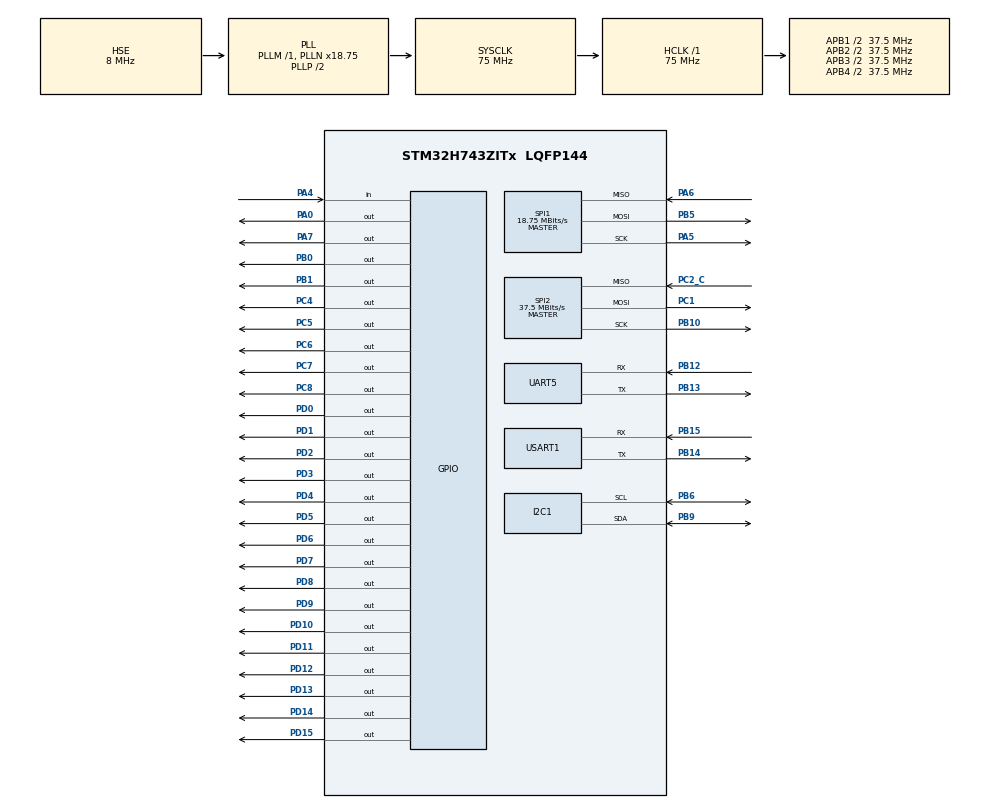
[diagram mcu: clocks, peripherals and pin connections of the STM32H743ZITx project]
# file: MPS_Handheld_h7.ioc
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I2C1.Timing=0x00909FCE
Mcu.Family=STM32H7
Mcu.Name=STM32H743ZITx
Mcu.Package=LQFP144
NVIC.PriorityGroup=NVIC_PRIORITYGROUP_4
PA0.GPIO_Speed=GPIO_SPEED_FREQ_VERY_HIGH
PA0.Signal=GPIO_Output
PA4.Signal=GPIO_Input
PA5.Mode=Full_Duplex_Master
PA5.Signal=SPI1_SCK
PA6.Mode=Full_Duplex_Master
PA6.Signal=SPI1_MISO
PA7.GPIO_Speed=GPIO_SPEED_FREQ_VERY_HIGH
PA7.Signal=GPIO_Output
PB0.GPIO_Speed=GPIO_SPEED_FREQ_VERY_HIGH
PB0.Signal=GPIO_Output
PB1.GPIO_Speed=GPIO_SPEED_FREQ_VERY_HIGH
PB1.Signal=GPIO_Output
PB10.Mode=Full_Duplex_Master
PB10.Signal=SPI2_SCK
PB12.Mode=Asynchronous
PB12.Signal=UART5_RX
PB13.Mode=Asynchronous
PB13.Signal=UART5_TX
PB14.Mode=Asynchronous
PB14.Signal=USART1_TX
PB15.Mode=Asynchronous
PB15.Signal=USART1_RX
PB5.Mode=Full_Duplex_Master
PB5.Signal=SPI1_MOSI
PB6.Mode=I2C
PB6.Signal=I2C1_SCL
PB9.Mode=I2C
PB9.Signal=I2C1_SDA
PC1.Mode=Full_Duplex_Master
PC1.Signal=SPI2_MOSI
PC2_C.Mode=Full_Duplex_Master
PC2_C.Signal=SPI2_MISO
PC4.GPIO_Speed=GPIO_SPEED_FREQ_VERY_HIGH
PC4.Signal=GPIO_Output
PC5.GPIO_Speed=GPIO_SPEED_FREQ_VERY_HIGH
PC5.Signal=GPIO_Output
PC6.GPIO_Speed=GPIO_SPEED_FREQ_VERY_HIGH
PC6.Signal=GPIO_Output
PC7.GPIO_Speed=GPIO_SPEED_FREQ_VERY_HIGH
PC7.Signal=GPIO_Output
PC8.GPIO_Speed=GPIO_SPEED_FREQ_VERY_HIGH
PC8.Signal=GPIO_Output
PD0.Signal=GPIO_Output
PD1.Signal=GPIO_Output
PD10.Signal=GPIO_Output
PD11.Signal=GPIO_Output
PD12.Signal=GPIO_Output
PD13.Signal=GPIO_Output
PD14.Signal=GPIO_Output
PD15.Signal=GPIO_Output
PD2.Signal=GPIO_Output
PD3.Signal=GPIO_Output
PD4.Signal=GPIO_Output
PD5.Signal=GPIO_Output
PD6.Signal=GPIO_Output
PD7.Signal=GPIO_Output
PD8.Signal=GPIO_Output
PD9.Signal=GPIO_Output
PH0-OSC_IN\ (PH0).Mode=HSE-External-Oscillator
PH0-OSC_IN\ (PH0).Signal=RCC_OSC_IN
PH1-OSC_OUT\ (PH1).Mode=HSE-External-Oscillator
PH1-OSC_OUT\ (PH1).Signal=RCC_OSC_OUT
ProjectManager.HeapSize=0x200
ProjectManager.StackSize=0x400
ProjectManager.TargetToolchain=STM32CubeIDE
RCC.ADCFreq_Value=16125000
RCC.APB1Freq_Value=37500000
RCC.APB2Freq_Value=37500000
RCC.APB3Freq_Value=37500000
RCC.APB4Freq_Value=37500000
RCC.CortexFreq_Value=75000000
RCC.D1PPRE=RCC_APB3_DIV2
RCC.D2PPRE1=RCC_APB1_DIV2
RCC.D2PPRE2=RCC_APB2_DIV2
RCC.D3PPRE=RCC_APB4_DIV2
RCC.DIVM1=1
RCC.DIVN1=18
RCC.HCLKFreq_Value=75000000
RCC.HSE_VALUE=8000000
RCC.PLLFRACN=6144
RCC.PLLSourceVirtual=RCC_PLLSOURCE_HSE
RCC.SYSCLKFreq_VALUE=75000000
RCC.SYSCLKSource=RCC_SYSCLKSOURCE_PLLCLK
RCC.USBFreq_Value=75000000
SPI1.BaudRatePrescaler=SPI_BAUDRATEPRESCALER_4
SPI1.CalculateBaudRate=18.75 MBits/s
SPI1.DataSize=SPI_DATASIZE_12BIT
SPI1.Direction=SPI_DIRECTION_2LINES
SPI1.Mode=SPI_MODE_MASTER
SPI1.VirtualType=VM_MASTER
SPI2.CalculateBaudRate=37.5 MBits/s
SPI2.Direction=SPI_DIRECTION_2LINES
SPI2.Mode=SPI_MODE_MASTER
SPI2.VirtualType=VM_MASTER
USART1.VirtualMode-Asynchronous=VM_ASYNC
board=custom

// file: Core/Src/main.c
/* USER CODE BEGIN Header */
/**
  ******************************************************************************
  * @file           : main.c
  * @brief          : Main program body
  ******************************************************************************
	WRITTEN BY ARTURO DI GRIROLAMO, APRIL 2021
	MPS RESEARCH PROJECT AT THE UNIVERSITY OF MINNESOTA
  ******************************************************************************
  */
/* USER CODE END Header */

#include "main.h"

/* USER CODE BEGIN Includes */
#include "math.h"
#include <stdbool.h>
#include <string.h>
#include <stdio.h>
/* USER CODE END Includes */

/* USER CODE BEGIN PTD */
#define samplesize 170000
/* USER CODE END PTD */

/* USER CODE BEGIN PD */
#define CSR     0x00            //Channel select register            1 Byte
#define CFTW    0x04            //Channel Frequency Tuning Word      4 Bytes
#define CPOW    0x05            //Channel Phase Offset Word          2 Bytes
/* USER CODE END PD */

I2C_HandleTypeDef hi2c1;

SPI_HandleTypeDef hspi2;

UART_HandleTypeDef huart5;
UART_HandleTypeDef huart1;

/* USER CODE BEGIN PV */

//VINIT VARIABLES
uint32_t FTW0;	//Frequency tuning word for channel 0
uint32_t FTW1;	//Frequency tuning word for channel 1
uint32_t POW0;	//Phase offset word for channel 0
uint32_t POW1;	//Phase offset word for channel 1
uint8_t ftwBytes0[4];
uint8_t ftwBytes1[4];
uint8_t powBytes0[2];
uint8_t powBytes1[2];
uint8_t regBuff;
uint8_t dataBuff;

// ARTURO VARIABLES
uint8_t myRxData[2];
uint8_t myTxData[1] = {0xAA};
uint8_t FreqFlag = 0;
uint8_t FreqFlag2 = 0;
uint16_t FrequencyH = 0;
uint16_t FrequencyL = 0;
uint8_t a[2] = {0xAA,0};
uint8_t b[2] = {0xBB,0};
uint8_t c[2] = {0xFF,0};
uint8_t d_to_dds[2] = {'1',0};
uint8_t needtoadj = 0;

uint8_t the_stuff[3][samplesize];
uint32_t read_data;
uint16_t sampleRateDivider = 700;

/* USER CODE END PV */

void SystemClock_Config(void);
static void MX_GPIO_Init(void);
static void MX_I2C1_Init(void);
static void MX_SPI1_Init(void);
static void MX_SPI2_Init(void);
static void MX_UART5_Init(void);
static void MX_USART1_UART_Init(void);

/* USER CODE BEGIN 0 */
void MY_DDS9958_FUNCTION_A()
{
	//LED turned on during DDS operation
	LL_GPIO_SetOutputPin(GPIOA, GPIO_PIN_0);

	//Write the frequency and phase information for the DDS AD9958 below
	//Refer to the Python code for correct numbers here
	FTW0 = 858993;	//5KHz
	POW0 = 0;		//0 degree
	FTW1 = 858993;	//5KHz
	POW1 = 1500;	//90 degree - 4096; 4480; 1500

	ftwBytes0[0] = FTW0 >> 24;	//MSB
	ftwBytes0[1] = FTW0 >> 16;
	ftwBytes0[2] = FTW0 >> 8;
	ftwBytes0[3] = FTW0 >> 0;	//LSB

	ftwBytes1[0] = FTW1 >> 24;	//MSB
	ftwBytes1[1] = FTW1 >> 16;
	ftwBytes1[2] = FTW1 >> 8;
	ftwBytes1[3] = FTW1 >> 0;	//LSB

	powBytes0[0] = POW0 >> 8;	//MSB
	powBytes0[1] = POW0 >> 0;	//LSB

	powBytes1[0] = POW1 >> 8;	//MSB
	powBytes1[1] = POW1 >> 0;	//LSB

	//************************************
	//ADD DDS FUNCTIONALITY HERE
	//************************************

	//------------------------------------
	//Master reset pulse : Pulse of 1ms duration
	LL_GPIO_SetOutputPin(GPIOD, GPIO_PIN_2);
	HAL_Delay(1);
	LL_GPIO_ResetOutputPin(GPIOD, GPIO_PIN_2);
	//------------------------------------

	//------------------------------------
	//Enable SPI communication on DDS : SDIO_3 pin should be pulled "LOW"
	LL_GPIO_ResetOutputPin(GPIOD, GPIO_PIN_1);
	HAL_Delay(1);
	//------------------------------------

	//------------------------------------
	//Configure 3-wire SPI : *Redundant* if no read operations are performed
	//write 0x72/42 into CSR register while configuring channel-0 updates
	//write 0xB2/82 into CSR register while configuring channel-1 updates
	//------------------------------------

	//------------------------------------
	//Select channel-0 in CSR register : IO update toggle is not needed for channel selection
	regBuff = CSR;
	dataBuff = 0x70;	//0x40 is also valid
	LL_GPIO_ResetOutputPin(GPIOB, GPIO_PIN_0);
	HAL_SPI_Transmit (&hspi2, &regBuff, 1, 100);
	HAL_SPI_Transmit (&hspi2, &dataBuff, 1, 100);
	LL_GPIO_SetOutputPin(GPIOB, GPIO_PIN_0);
	//------------------------------------

	//------------------------------------
	//Frequency update for channel-0 : IO update toggle is needed
	regBuff = CFTW;
	LL_GPIO_ResetOutputPin(GPIOB, GPIO_PIN_0);
	HAL_Delay(1);
	HAL_SPI_Transmit (&hspi2, &regBuff, 1, 100);
	HAL_SPI_Transmit (&hspi2, &ftwBytes0[0], 1, 100);	//MSB
	HAL_SPI_Transmit (&hspi2, &ftwBytes0[1], 1, 100);
	HAL_SPI_Transmit (&hspi2, &ftwBytes0[2], 1, 100);
	HAL_SPI_Transmit (&hspi2, &ftwBytes0[3], 1, 100);	//LSB
	HAL_Delay(1);
	LL_GPIO_SetOutputPin(GPIOB, GPIO_PIN_0);

	LL_GPIO_SetOutputPin(GPIOD, GPIO_PIN_3);
	HAL_Delay(1);
	LL_GPIO_ResetOutputPin(GPIOD, GPIO_PIN_3);
	//------------------------------------

	//------------------------------------
	//Select channel-0 in CSR register : IO update toggle is not needed for channel selection
	//*Channel select is regenerated before sending the phase information
	regBuff = CSR;
	dataBuff = 0x70;	//0x40 is also valid
	LL_GPIO_ResetOutputPin(GPIOB, GPIO_PIN_0);
	HAL_SPI_Transmit (&hspi2, &regBuff, 1, 100);
	HAL_SPI_Transmit (&hspi2, &dataBuff, 1, 100);
	LL_GPIO_SetOutputPin(GPIOB, GPIO_PIN_0);
	//------------------------------------

	//------------------------------------
	//Phase update for channel-0 : IO update toggle is needed
	regBuff = CPOW;
	LL_GPIO_ResetOutputPin(GPIOB, GPIO_PIN_0);
	HAL_SPI_Transmit (&hspi2, &regBuff, 1, 100);
	HAL_SPI_Transmit (&hspi2, &powBytes0[0], 1, 100);	//MSB
	HAL_SPI_Transmit (&hspi2, &powBytes0[1], 1, 100);	//LSB
	LL_GPIO_SetOutputPin(GPIOB, GPIO_PIN_0);

	LL_GPIO_SetOutputPin(GPIOD, GPIO_PIN_3);
	HAL_Delay(1);
	LL_GPIO_ResetOutputPin(GPIOD, GPIO_PIN_3);
	//------------------------------------

	//------------------------------------
	//Select channel-1 in CSR register : IO update toggle is not needed for channel selection
	regBuff = CSR;
	dataBuff = 0xB0;	//0x80 is also valid
	LL_GPIO_ResetOutputPin(GPIOB, GPIO_PIN_0);
	HAL_SPI_Transmit (&hspi2, &regBuff, 1, 100);
	HAL_SPI_Transmit (&hspi2, &dataBuff, 1, 100);
	LL_GPIO_SetOutputPin(GPIOB, GPIO_PIN_0);
	//------------------------------------

	//------------------------------------
	//Frequency update for channel-1 : IO update toggle is needed
	regBuff = CFTW;
	LL_GPIO_ResetOutputPin(GPIOB, GPIO_PIN_0);
	HAL_SPI_Transmit (&hspi2, &regBuff, 1, 100);
	HAL_SPI_Transmit (&hspi2, &ftwBytes1[0], 1, 100);	//MSB
	HAL_SPI_Transmit (&hspi2, &ftwBytes1[1], 1, 100);
	HAL_SPI_Transmit (&hspi2, &ftwBytes1[2], 1, 100);
	HAL_SPI_Transmit (&hspi2, &ftwBytes1[3], 1, 100);	//LSB
	LL_GPIO_SetOutputPin(GPIOB, GPIO_PIN_0);

	LL_GPIO_SetOutputPin(GPIOD, GPIO_PIN_3);
	HAL_Delay(1);
	LL_GPIO_ResetOutputPin(GPIOD, GPIO_PIN_3);
	//------------------------------------

	//------------------------------------
	//Select channel-1 in CSR register : IO update toggle is not needed for channel selection
	//*Channel select is regenerated before sending the phase information
	regBuff = CSR;
	dataBuff = 0xB0;	//0x80 is also valid
	LL_GPIO_ResetOutputPin(GPIOB, GPIO_PIN_0);
	HAL_SPI_Transmit (&hspi2, &regBuff, 1, 100);
	HAL_SPI_Transmit (&hspi2, &dataBuff, 1, 100);
	LL_GPIO_SetOutputPin(GPIOB, GPIO_PIN_0);
	//------------------------------------

	//------------------------------------
	//Phase update for channel-1 : IO update toggle is needed
	regBuff = CPOW;
	LL_GPIO_ResetOutputPin(GPIOB, GPIO_PIN_0);
	HAL_SPI_Transmit (&hspi2, &regBuff, 1, 100);
	HAL_SPI_Transmit (&hspi2, &powBytes1[0], 1, 100);	//MSB
	HAL_SPI_Transmit (&hspi2, &powBytes1[1], 1, 100);	//LSB
	LL_GPIO_SetOutputPin(GPIOB, GPIO_PIN_0);

	LL_GPIO_SetOutputPin(GPIOD, GPIO_PIN_3);
	HAL_Delay(1);
	LL_GPIO_ResetOutputPin(GPIOD, GPIO_PIN_3);
	//------------------------------------

	//------------------------------------
	//Disable SPI communication on DDS : SDIO_3 pin should be pulled "HIGH"
	//TO make proper use of this, initiate SDIO_3 pin to logic "HIGH" state and pull down only when SPI operations are needed
	//HAL_GPIO_WritePin(DDS_SDIO_3_GPIO_Port, DDS_SDIO_3_Pin, GPIO_PIN_SET);
	//------------------------------------
}
void MY_DDS9958_FUNCTION_B()
{
	//LED turned on during DDS operation
	LL_GPIO_SetOutputPin(GPIOA, GPIO_PIN_0);

	//Write the frequency and phase information for the DDS AD9958 below
	//Refer to the Python code for correct numbers here
	FTW0 = 858993;	//5KHz
	POW0 = 0;		//0 degree
	FTW1 = 858993;	//5KHz
	POW1 = 1500;	//90 degree - 4096; 4480; 1500

	ftwBytes0[0] = FTW0 >> 24;	//MSB
	ftwBytes0[1] = FTW0 >> 16;
	ftwBytes0[2] = FTW0 >> 8;
	ftwBytes0[3] = FTW0 >> 0;	//LSB

	ftwBytes1[0] = FTW1 >> 24;	//MSB
	ftwBytes1[1] = FTW1 >> 16;
	ftwBytes1[2] = FTW1 >> 8;
	ftwBytes1[3] = FTW1 >> 0;	//LSB

	powBytes0[0] = POW0 >> 8;	//MSB
	powBytes0[1] = POW0 >> 0;	//LSB

	powBytes1[0] = POW1 >> 8;	//MSB
	powBytes1[1] = POW1 >> 0;	//LSB

	//************************************
	//ADD DDS FUNCTIONALITY HERE
	//************************************

	//------------------------------------
	//Master reset pulse : Pulse of 1ms duration
	LL_GPIO_SetOutputPin(GPIOD, GPIO_PIN_10);
	HAL_Delay(1);
	LL_GPIO_ResetOutputPin(GPIOD, GPIO_PIN_10);
	//------------------------------------

	//------------------------------------
	//Enable SPI communication on DDS : SDIO_3 pin should be pulled "LOW"
	LL_GPIO_ResetOutputPin(GPIOD, GPIO_PIN_9);
	HAL_Delay(1);
	//------------------------------------

	//------------------------------------
	//Configure 3-wire SPI : *Redundant* if no read operations are performed
	//write 0x72/42 into CSR register while configuring channel-0 updates
	//write 0xB2/82 into CSR register while configuring channel-1 updates
	//------------------------------------

	//------------------------------------
	//Select channel-0 in CSR register : IO update toggle is not needed for channel selection
	regBuff = CSR;
	dataBuff = 0x70;	//0x40 is also valid
	LL_GPIO_ResetOutputPin(GPIOB, GPIO_PIN_1);
	HAL_SPI_Transmit (&hspi2, &regBuff, 1, 100);
	HAL_SPI_Transmit (&hspi2, &dataBuff, 1, 100);
	LL_GPIO_SetOutputPin(GPIOB, GPIO_PIN_1);
	//------------------------------------

	//------------------------------------
	//Frequency update for channel-0 : IO update toggle is needed
	regBuff = CFTW;
	LL_GPIO_ResetOutputPin(GPIOB, GPIO_PIN_1);
	HAL_Delay(1);
	HAL_SPI_Transmit (&hspi2, &regBuff, 1, 100);
	HAL_SPI_Transmit (&hspi2, &ftwBytes0[0], 1, 100);	//MSB
	HAL_SPI_Transmit (&hspi2, &ftwBytes0[1], 1, 100);
	HAL_SPI_Transmit (&hspi2, &ftwBytes0[2], 1, 100);
	HAL_SPI_Transmit (&hspi2, &ftwBytes0[3], 1, 100);	//LSB
	HAL_Delay(1);
	LL_GPIO_SetOutputPin(GPIOB, GPIO_PIN_1);

	LL_GPIO_SetOutputPin(GPIOD, GPIO_PIN_11);
	HAL_Delay(1);
	LL_GPIO_ResetOutputPin(GPIOD, GPIO_PIN_11);
	//------------------------------------

	//------------------------------------
	//Select channel-0 in CSR register : IO update toggle is not needed for channel selection
	//*Channel select is regenerated before sending the phase information
	regBuff = CSR;
	dataBuff = 0x70;	//0x40 is also valid
	LL_GPIO_ResetOutputPin(GPIOB, GPIO_PIN_1);
	HAL_SPI_Transmit (&hspi2, &regBuff, 1, 100);
	HAL_SPI_Transmit (&hspi2, &dataBuff, 1, 100);
	LL_GPIO_SetOutputPin(GPIOB, GPIO_PIN_1);
	//------------------------------------

	//------------------------------------
	//Phase update for channel-0 : IO update toggle is needed
	regBuff = CPOW;
	LL_GPIO_ResetOutputPin(GPIOB, GPIO_PIN_1);
	HAL_SPI_Transmit (&hspi2, &regBuff, 1, 100);
	HAL_SPI_Transmit (&hspi2, &powBytes0[0], 1, 100);	//MSB
	HAL_SPI_Transmit (&hspi2, &powBytes0[1], 1, 100);	//LSB
	LL_GPIO_SetOutputPin(GPIOB, GPIO_PIN_1);

	LL_GPIO_SetOutputPin(GPIOD, GPIO_PIN_11);
	HAL_Delay(1);
	LL_GPIO_ResetOutputPin(GPIOD, GPIO_PIN_11);
	//------------------------------------

	//------------------------------------
	//Select channel-1 in CSR register : IO update toggle is not needed for channel selection
	regBuff = CSR;
	dataBuff = 0xB0;	//0x80 is also valid
	LL_GPIO_ResetOutputPin(GPIOB, GPIO_PIN_1);
	HAL_SPI_Transmit (&hspi2, &regBuff, 1, 100);
	HAL_SPI_Transmit (&hspi2, &dataBuff, 1, 100);
	LL_GPIO_SetOutputPin(GPIOB, GPIO_PIN_1);
	//------------------------------------

	//------------------------------------
	//Frequency update for channel-1 : IO update toggle is needed
	regBuff = CFTW;
	LL_GPIO_ResetOutputPin(GPIOB, GPIO_PIN_1);
	HAL_SPI_Transmit (&hspi2, &regBuff, 1, 100);
	HAL_SPI_Transmit (&hspi2, &ftwBytes1[0], 1, 100);	//MSB
	HAL_SPI_Transmit (&hspi2, &ftwBytes1[1], 1, 100);
	HAL_SPI_Transmit (&hspi2, &ftwBytes1[2], 1, 100);
	HAL_SPI_Transmit (&hspi2, &ftwBytes1[3], 1, 100);	//LSB
	LL_GPIO_SetOutputPin(GPIOB, GPIO_PIN_1);

	LL_GPIO_SetOutputPin(GPIOD, GPIO_PIN_11);
	HAL_Delay(1);
	LL_GPIO_ResetOutputPin(GPIOD, GPIO_PIN_11);
	//------------------------------------

	//------------------------------------
	//Select channel-1 in CSR register : IO update toggle is not needed for channel selection
	//*Channel select is regenerated before sending the phase information
	regBuff = CSR;
	dataBuff = 0xB0;	//0x80 is also valid
	LL_GPIO_ResetOutputPin(GPIOB, GPIO_PIN_1);
	HAL_SPI_Transmit (&hspi2, &regBuff, 1, 100);
	HAL_SPI_Transmit (&hspi2, &dataBuff, 1, 100);
	LL_GPIO_SetOutputPin(GPIOB, GPIO_PIN_1);
	//------------------------------------

	//------------------------------------
	//Phase update for channel-1 : IO update toggle is needed
	regBuff = CPOW;
	LL_GPIO_ResetOutputPin(GPIOB, GPIO_PIN_1);
	HAL_SPI_Transmit (&hspi2, &regBuff, 1, 100);
	HAL_SPI_Transmit (&hspi2, &powBytes1[0], 1, 100);	//MSB
	HAL_SPI_Transmit (&hspi2, &powBytes1[1], 1, 100);	//LSB
	LL_GPIO_SetOutputPin(GPIOB, GPIO_PIN_1);

	LL_GPIO_SetOutputPin(GPIOD, GPIO_PIN_11);
	HAL_Delay(1);
	LL_GPIO_ResetOutputPin(GPIOD, GPIO_PIN_11);
	//------------------------------------

	//------------------------------------
	//Disable SPI communication on DDS : SDIO_3 pin should be pulled "HIGH"
	//TO make proper use of this, initiate SDIO_3 pin to logic "HIGH" state and pull down only when SPI operations are needed
	//HAL_GPIO_WritePin(DDS_SDIO_3_GPIO_Port, DDS_SDIO_3_Pin, GPIO_PIN_SET);
	//------------------------------------
}
void delay_10ns (uint16_t us)
{
	__HAL_TIM_SET_COUNTER(&htim2,0);  // set the counter value a 0
	while (__HAL_TIM_GET_COUNTER(&htim2) < us);  // wait for the counter to reach the us input in the parameter
}

void adcRead1000(){
	uint32_t i;
	LL_GPIO_SetOutputPin(GPIOC, LL_GPIO_PIN_4);
	LL_GPIO_SetOutputPin(GPIOC, LL_GPIO_PIN_5);
	LL_GPIO_SetOutputPin(GPIOC, LL_GPIO_PIN_6);
	LL_GPIO_SetOutputPin(GPIOC, LL_GPIO_PIN_7);
	LL_GPIO_SetOutputPin(GPIOC, LL_GPIO_PIN_8);
	for(i = 0; i<samplesize; i++){
		LL_GPIO_SetOutputPin(GPIOA, LL_GPIO_PIN_7);
		LL_GPIO_ResetOutputPin(GPIOA, LL_GPIO_PIN_7);
		while (LL_SPI_IsActiveFlag_RXNE(SPI1))
		{
			(void)(uint16_t)(READ_REG(SPI1->DR)); // flush any FIFO content
		}
		__IO uint16_t *spidr = ((__IO uint16_t *)&SPI1->DR);
		*spidr = 0xFFFF;
		uint16_t first = (uint16_t)(READ_REG(SPI1->DR));
		*spidr = 0xFFFF;
		uint16_t second = (uint16_t)(READ_REG(SPI1->DR));
		uint32_t first2 = first;
		read_data = ((first2<<12)+(second));
		the_stuff[2][i] = read_data;
		the_stuff[1][i] = (read_data >> 8);
		the_stuff[0][i] = (read_data >> 16);
		//delay_10ns(sampleRateDivider);
	}
	LL_GPIO_ResetOutputPin(GPIOC, LL_GPIO_PIN_4);
	LL_GPIO_ResetOutputPin(GPIOC, LL_GPIO_PIN_5);
	LL_GPIO_ResetOutputPin(GPIOC, LL_GPIO_PIN_6);
	LL_GPIO_ResetOutputPin(GPIOC, LL_GPIO_PIN_7);
	LL_GPIO_ResetOutputPin(GPIOC, LL_GPIO_PIN_8);
}

void transmit1000(){
	uint32_t i;
	uint32_t j;
	for(i  = 0; i <samplesize; i++){
		for(j = 0; j<3; j++){
			HAL_UART_Transmit(&huart1, (uint8_t*)&the_stuff[j][i], sizeof(the_stuff[j][i]), 0xFFFF);
		}
	}
}

void HAL_UART_RxCpltCallback(UART_HandleTypeDef *huart){
	UNUSED(huart);
	/*if(FreqFlag == 1){
		FrequencyL = myRxData[0]*myRxData[1];
		FreqFlag = 0;
		FreqFlag2 = 1;
		HAL_UART_Receive_DMA(&huart1, myRxData, 2);
		return;
	}if(FreqFlag2 == 1){
		if(myRxData[1] != 1){
			FrequencyH = myRxData[0]*powf(10, myRxData[1]); // end my life please
		}else{
			FrequencyH = myRxData[0]*myRxData[1];
		}
		FreqFlag2 = 0;
		needtoadj = 1;
		HAL_UART_Receive_DMA(&huart1, myRxData, 2); // just kidding
		return;
	}*/
	if((myRxData[0] == 'a' )&& (myRxData[1] == 'a')){
		HAL_UART_Transmit(&huart1, (uint8_t * )&a[0], sizeof(a[0]), 0xFFFF);
    }else if((myRxData[0] == 'b' )&& (myRxData[1] == 'b')){
    	adcRead1000();
    	HAL_UART_Transmit(&huart1, (uint8_t * )&b[0], sizeof(b[0]), 0xFFFF);
    }else if((myRxData[0] == 'c' )&& (myRxData[1] == 'c')){
    	transmit1000();
	}/*else if((myRxData[0] == 'l' )&& (myRxData[1] == 'l')){
		FreqFlag = 1;
	}else if(myRxData[0] == '1'){
		d_to_dds[1] = myRxData[1];
	}*/
	HAL_UART_Receive_DMA(&huart1, myRxData, 2);
}
/* USER CODE END 0 */

int main(void)
{

  /* MCU Configuration--------------------------------------------------------*/

  /* Reset of all peripherals, Initializes the Flash interface and the Systick. */
  HAL_Init();

  /* Configure the system clock */
  SystemClock_Config();

  /* Initialize all configured peripherals */
  MX_GPIO_Init();
  MX_I2C1_Init();
  MX_SPI1_Init();
  MX_SPI2_Init();
  MX_UART5_Init();
  MX_USART1_UART_Init();
  /* USER CODE BEGIN 2 */
  LL_SPI_Enable(SPI1);
  HAL_UART_Receive_DMA(&huart1, myRxData, 2);
  HAL_Delay(500);

  MY_DDS9958_FUNCTION_A();
  MY_DDS9958_FUNCTION_B();
  /* USER CODE END 2 */

  /* Infinite loop */
  /* USER CODE BEGIN WHILE */
  while (1)
  {
	  LL_GPIO_SetOutputPin(GPIOA, LL_GPIO_PIN_0);
	  HAL_Delay(500);
	  LL_GPIO_ResetOutputPin(GPIOA, LL_GPIO_PIN_0);
	  HAL_Delay(500);
    /* USER CODE END WHILE */

  }
}

void SystemClock_Config(void)
{
  RCC_OscInitTypeDef RCC_OscInitStruct = {0};
  RCC_ClkInitTypeDef RCC_ClkInitStruct = {0};
  RCC_PeriphCLKInitTypeDef PeriphClkInitStruct = {0};

  /** Supply configuration update enable
  */
  HAL_PWREx_ConfigSupply(PWR_LDO_SUPPLY);
  /** Configure the main internal regulator output voltage
  */
  __HAL_PWR_VOLTAGESCALING_CONFIG(PWR_REGULATOR_VOLTAGE_SCALE3);

  while(!__HAL_PWR_GET_FLAG(PWR_FLAG_VOSRDY)) {}
  /** Initializes the CPU, AHB and APB busses clocks
  */
  RCC_OscInitStruct.OscillatorType = RCC_OSCILLATORTYPE_HSE;
  RCC_OscInitStruct.HSEState = RCC_HSE_ON;
  RCC_OscInitStruct.PLL.PLLState = RCC_PLL_ON;
  RCC_OscInitStruct.PLL.PLLSource = RCC_PLLSOURCE_HSE;
  RCC_OscInitStruct.PLL.PLLM = 1;
  RCC_OscInitStruct.PLL.PLLN = 18;
  RCC_OscInitStruct.PLL.PLLP = 2;
  RCC_OscInitStruct.PLL.PLLQ = 2;
  RCC_OscInitStruct.PLL.PLLR = 2;
  RCC_OscInitStruct.PLL.PLLRGE = RCC_PLL1VCIRANGE_3;
  RCC_OscInitStruct.PLL.PLLVCOSEL = RCC_PLL1VCOMEDIUM;
  RCC_OscInitStruct.PLL.PLLFRACN = 6144;
  if (HAL_RCC_OscConfig(&RCC_OscInitStruct) != HAL_OK)
  {
    Error_Handler();
  }
  /** Initializes the CPU, AHB and APB busses clocks
  */
  RCC_ClkInitStruct.ClockType = RCC_CLOCKTYPE_HCLK|RCC_CLOCKTYPE_SYSCLK
                              |RCC_CLOCKTYPE_PCLK1|RCC_CLOCKTYPE_PCLK2
                              |RCC_CLOCKTYPE_D3PCLK1|RCC_CLOCKTYPE_D1PCLK1;
  RCC_ClkInitStruct.SYSCLKSource = RCC_SYSCLKSOURCE_PLLCLK;
  RCC_ClkInitStruct.SYSCLKDivider = RCC_SYSCLK_DIV1;
  RCC_ClkInitStruct.AHBCLKDivider = RCC_HCLK_DIV1;
  RCC_ClkInitStruct.APB3CLKDivider = RCC_APB3_DIV2;
  RCC_ClkInitStruct.APB1CLKDivider = RCC_APB1_DIV2;
  RCC_ClkInitStruct.APB2CLKDivider = RCC_APB2_DIV2;
  RCC_ClkInitStruct.APB4CLKDivider = RCC_APB4_DIV2;

  if (HAL_RCC_ClockConfig(&RCC_ClkInitStruct, FLASH_LATENCY_1) != HAL_OK)
  {
    Error_Handler();
  }
  PeriphClkInitStruct.PeriphClockSelection = RCC_PERIPHCLK_USART1|RCC_PERIPHCLK_UART5
                              |RCC_PERIPHCLK_SPI1|RCC_PERIPHCLK_SPI2
                              |RCC_PERIPHCLK_I2C1;
  PeriphClkInitStruct.Spi123ClockSelection = RCC_SPI123CLKSOURCE_PLL;
  PeriphClkInitStruct.Usart234578ClockSelection = RCC_USART234578CLKSOURCE_D2PCLK1;
  PeriphClkInitStruct.Usart16ClockSelection = RCC_USART16CLKSOURCE_D2PCLK2;
  PeriphClkInitStruct.I2c123ClockSelection = RCC_I2C123CLKSOURCE_D2PCLK1;
  if (HAL_RCCEx_PeriphCLKConfig(&PeriphClkInitStruct) != HAL_OK)
  {
    Error_Handler();
  }
}

static void MX_I2C1_Init(void)
{

  hi2c1.Instance = I2C1;
  hi2c1.Init.Timing = 0x00909FCE;
  hi2c1.Init.OwnAddress1 = 0;
  hi2c1.Init.AddressingMode = I2C_ADDRESSINGMODE_7BIT;
  hi2c1.Init.DualAddressMode = I2C_DUALADDRESS_DISABLE;
  hi2c1.Init.OwnAddress2 = 0;
  hi2c1.Init.OwnAddress2Masks = I2C_OA2_NOMASK;
  hi2c1.Init.GeneralCallMode = I2C_GENERALCALL_DISABLE;
  hi2c1.Init.NoStretchMode = I2C_NOSTRETCH_DISABLE;
  if (HAL_I2C_Init(&hi2c1) != HAL_OK)
  {
    Error_Handler();
  }
  /** Configure Analogue filter
  */
  if (HAL_I2CEx_ConfigAnalogFilter(&hi2c1, I2C_ANALOGFILTER_ENABLE) != HAL_OK)
  {
    Error_Handler();
  }
  /** Configure Digital filter
  */
  if (HAL_I2CEx_ConfigDigitalFilter(&hi2c1, 0) != HAL_OK)
  {
    Error_Handler();
  }

}

static void MX_SPI1_Init(void)
{

  LL_SPI_InitTypeDef SPI_InitStruct = {0};

  LL_GPIO_InitTypeDef GPIO_InitStruct = {0};

  /* Peripheral clock enable */
  LL_APB2_GRP1_EnableClock(LL_APB2_GRP1_PERIPH_SPI1);

  LL_AHB4_GRP1_EnableClock(LL_AHB4_GRP1_PERIPH_GPIOA);
  LL_AHB4_GRP1_EnableClock(LL_AHB4_GRP1_PERIPH_GPIOB);
  /**SPI1 GPIO Configuration
  PA5   ------> SPI1_SCK
  PA6   ------> SPI1_MISO
  PB5   ------> SPI1_MOSI
  */
  GPIO_InitStruct.Pin = LL_GPIO_PIN_5|LL_GPIO_PIN_6;
  GPIO_InitStruct.Mode = LL_GPIO_MODE_ALTERNATE;
  GPIO_InitStruct.Speed = LL_GPIO_SPEED_FREQ_LOW;
  GPIO_InitStruct.OutputType = LL_GPIO_OUTPUT_PUSHPULL;
  GPIO_InitStruct.Pull = LL_GPIO_PULL_NO;
  GPIO_InitStruct.Alternate = LL_GPIO_AF_5;
  LL_GPIO_Init(GPIOA, &GPIO_InitStruct);

  GPIO_InitStruct.Pin = LL_GPIO_PIN_5;
  GPIO_InitStruct.Mode = LL_GPIO_MODE_ALTERNATE;
  GPIO_InitStruct.Speed = LL_GPIO_SPEED_FREQ_LOW;
  GPIO_InitStruct.OutputType = LL_GPIO_OUTPUT_PUSHPULL;
  GPIO_InitStruct.Pull = LL_GPIO_PULL_NO;
  GPIO_InitStruct.Alternate = LL_GPIO_AF_5;
  LL_GPIO_Init(GPIOB, &GPIO_InitStruct);

  /* SPI1 parameter configuration*/
  SPI_InitStruct.TransferDirection = LL_SPI_FULL_DUPLEX;
  SPI_InitStruct.Mode = LL_SPI_MODE_MASTER;
  SPI_InitStruct.DataWidth = LL_SPI_DATAWIDTH_12BIT;
  SPI_InitStruct.ClockPolarity = LL_SPI_POLARITY_LOW;
  SPI_InitStruct.ClockPhase = LL_SPI_PHASE_1EDGE;
  SPI_InitStruct.NSS = LL_SPI_NSS_SOFT;
  SPI_InitStruct.BaudRate = LL_SPI_BAUDRATEPRESCALER_DIV4;
  SPI_InitStruct.BitOrder = LL_SPI_MSB_FIRST;
  SPI_InitStruct.CRCCalculation = LL_SPI_CRCCALCULATION_DISABLE;
  SPI_InitStruct.CRCPoly = 0x0;
  LL_SPI_Init(SPI1, &SPI_InitStruct);
  LL_SPI_SetStandard(SPI1, LL_SPI_PROTOCOL_MOTOROLA);
  LL_SPI_EnableNSSPulseMgt(SPI1);

}

static void MX_SPI2_Init(void)
{

  /* SPI2 parameter configuration*/
  hspi2.Instance = SPI2;
  hspi2.Init.Mode = SPI_MODE_MASTER;
  hspi2.Init.Direction = SPI_DIRECTION_2LINES;
  hspi2.Init.DataSize = SPI_DATASIZE_4BIT;
  hspi2.Init.CLKPolarity = SPI_POLARITY_LOW;
  hspi2.Init.CLKPhase = SPI_PHASE_1EDGE;
  hspi2.Init.NSS = SPI_NSS_SOFT;
  hspi2.Init.BaudRatePrescaler = SPI_BAUDRATEPRESCALER_2;
  hspi2.Init.FirstBit = SPI_FIRSTBIT_MSB;
  hspi2.Init.TIMode = SPI_TIMODE_DISABLE;
  hspi2.Init.CRCCalculation = SPI_CRCCALCULATION_DISABLE;
  hspi2.Init.CRCPolynomial = 0x0;
  hspi2.Init.NSSPMode = SPI_NSS_PULSE_ENABLE;
  hspi2.Init.NSSPolarity = SPI_NSS_POLARITY_LOW;
  hspi2.Init.FifoThreshold = SPI_FIFO_THRESHOLD_01DATA;
  hspi2.Init.TxCRCInitializationPattern = SPI_CRC_INITIALIZATION_ALL_ZERO_PATTERN;
  hspi2.Init.RxCRCInitializationPattern = SPI_CRC_INITIALIZATION_ALL_ZERO_PATTERN;
  hspi2.Init.MasterSSIdleness = SPI_MASTER_SS_IDLENESS_00CYCLE;
  hspi2.Init.MasterInterDataIdleness = SPI_MASTER_INTERDATA_IDLENESS_00CYCLE;
  hspi2.Init.MasterReceiverAutoSusp = SPI_MASTER_RX_AUTOSUSP_DISABLE;
  hspi2.Init.MasterKeepIOState = SPI_MASTER_KEEP_IO_STATE_DISABLE;
  hspi2.Init.IOSwap = SPI_IO_SWAP_DISABLE;
  if (HAL_SPI_Init(&hspi2) != HAL_OK)
  {
    Error_Handler();
  }

}

static void MX_UART5_Init(void)
{

  huart5.Instance = UART5;
  huart5.Init.BaudRate = 115200;
  huart5.Init.WordLength = UART_WORDLENGTH_8B;
  huart5.Init.StopBits = UART_STOPBITS_1;
  huart5.Init.Parity = UART_PARITY_NONE;
  huart5.Init.Mode = UART_MODE_TX_RX;
  huart5.Init.HwFlowCtl = UART_HWCONTROL_NONE;
  huart5.Init.OverSampling = UART_OVERSAMPLING_16;
  huart5.Init.OneBitSampling = UART_ONE_BIT_SAMPLE_DISABLE;
  huart5.Init.ClockPrescaler = UART_PRESCALER_DIV1;
  huart5.AdvancedInit.AdvFeatureInit = UART_ADVFEATURE_NO_INIT;
  if (HAL_UART_Init(&huart5) != HAL_OK)
  {
    Error_Handler();
  }
  if (HAL_UARTEx_SetTxFifoThreshold(&huart5, UART_TXFIFO_THRESHOLD_1_8) != HAL_OK)
  {
    Error_Handler();
  }
  if (HAL_UARTEx_SetRxFifoThreshold(&huart5, UART_RXFIFO_THRESHOLD_1_8) != HAL_OK)
  {
    Error_Handler();
  }
  if (HAL_UARTEx_DisableFifoMode(&huart5) != HAL_OK)
  {
    Error_Handler();
  }

}

static void MX_USART1_UART_Init(void)
{

  huart1.Instance = USART1;
  huart1.Init.BaudRate = 115200;
  huart1.Init.WordLength = UART_WORDLENGTH_8B;
  huart1.Init.StopBits = UART_STOPBITS_1;
  huart1.Init.Parity = UART_PARITY_NONE;
  huart1.Init.Mode = UART_MODE_TX_RX;
  huart1.Init.HwFlowCtl = UART_HWCONTROL_NONE;
  huart1.Init.OverSampling = UART_OVERSAMPLING_16;
  huart1.Init.OneBitSampling = UART_ONE_BIT_SAMPLE_DISABLE;
  huart1.Init.ClockPrescaler = UART_PRESCALER_DIV1;
  huart1.AdvancedInit.AdvFeatureInit = UART_ADVFEATURE_NO_INIT;
  if (HAL_UART_Init(&huart1) != HAL_OK)
  {
    Error_Handler();
  }
  if (HAL_UARTEx_SetTxFifoThreshold(&huart1, UART_TXFIFO_THRESHOLD_1_8) != HAL_OK)
  {
    Error_Handler();
  }
  if (HAL_UARTEx_SetRxFifoThreshold(&huart1, UART_RXFIFO_THRESHOLD_1_8) != HAL_OK)
  {
    Error_Handler();
  }
  if (HAL_UARTEx_DisableFifoMode(&huart1) != HAL_OK)
  {
    Error_Handler();
  }

}

static void MX_GPIO_Init(void)
{
  LL_GPIO_InitTypeDef GPIO_InitStruct = {0};

  /* GPIO Ports Clock Enable */
  LL_AHB4_GRP1_EnableClock(LL_AHB4_GRP1_PERIPH_GPIOH);
  LL_AHB4_GRP1_EnableClock(LL_AHB4_GRP1_PERIPH_GPIOC);
  LL_AHB4_GRP1_EnableClock(LL_AHB4_GRP1_PERIPH_GPIOA);
  LL_AHB4_GRP1_EnableClock(LL_AHB4_GRP1_PERIPH_GPIOB);
  LL_AHB4_GRP1_EnableClock(LL_AHB4_GRP1_PERIPH_GPIOD);

  /**/
  LL_GPIO_ResetOutputPin(GPIOA, LL_GPIO_PIN_0|LL_GPIO_PIN_7);

  /**/
  LL_GPIO_ResetOutputPin(GPIOC, LL_GPIO_PIN_4|LL_GPIO_PIN_5|LL_GPIO_PIN_6|LL_GPIO_PIN_7
                          |LL_GPIO_PIN_8);

  /**/
  LL_GPIO_ResetOutputPin(GPIOB, LL_GPIO_PIN_0|LL_GPIO_PIN_1);

  /**/
  LL_GPIO_ResetOutputPin(GPIOD, LL_GPIO_PIN_8|LL_GPIO_PIN_9|LL_GPIO_PIN_10|LL_GPIO_PIN_11
                          |LL_GPIO_PIN_12|LL_GPIO_PIN_13|LL_GPIO_PIN_14|LL_GPIO_PIN_15
                          |LL_GPIO_PIN_0|LL_GPIO_PIN_1|LL_GPIO_PIN_2|LL_GPIO_PIN_3
                          |LL_GPIO_PIN_4|LL_GPIO_PIN_5|LL_GPIO_PIN_6|LL_GPIO_PIN_7);

  /**/
  GPIO_InitStruct.Pin = LL_GPIO_PIN_0|LL_GPIO_PIN_7;
  GPIO_InitStruct.Mode = LL_GPIO_MODE_OUTPUT;
  GPIO_InitStruct.Speed = LL_GPIO_SPEED_FREQ_VERY_HIGH;
  GPIO_InitStruct.OutputType = LL_GPIO_OUTPUT_PUSHPULL;
  GPIO_InitStruct.Pull = LL_GPIO_PULL_NO;
  LL_GPIO_Init(GPIOA, &GPIO_InitStruct);

  /**/
  GPIO_InitStruct.Pin = LL_GPIO_PIN_4;
  GPIO_InitStruct.Mode = LL_GPIO_MODE_INPUT;
  GPIO_InitStruct.Pull = LL_GPIO_PULL_NO;
  LL_GPIO_Init(GPIOA, &GPIO_InitStruct);

  /**/
  GPIO_InitStruct.Pin = LL_GPIO_PIN_4|LL_GPIO_PIN_5|LL_GPIO_PIN_6|LL_GPIO_PIN_7
                          |LL_GPIO_PIN_8;
  GPIO_InitStruct.Mode = LL_GPIO_MODE_OUTPUT;
  GPIO_InitStruct.Speed = LL_GPIO_SPEED_FREQ_VERY_HIGH;
  GPIO_InitStruct.OutputType = LL_GPIO_OUTPUT_PUSHPULL;
  GPIO_InitStruct.Pull = LL_GPIO_PULL_NO;
  LL_GPIO_Init(GPIOC, &GPIO_InitStruct);

  /**/
  GPIO_InitStruct.Pin = LL_GPIO_PIN_0|LL_GPIO_PIN_1;
  GPIO_InitStruct.Mode = LL_GPIO_MODE_OUTPUT;
  GPIO_InitStruct.Speed = LL_GPIO_SPEED_FREQ_VERY_HIGH;
  GPIO_InitStruct.OutputType = LL_GPIO_OUTPUT_PUSHPULL;
  GPIO_InitStruct.Pull = LL_GPIO_PULL_NO;
  LL_GPIO_Init(GPIOB, &GPIO_InitStruct);

  /**/
  GPIO_InitStruct.Pin = LL_GPIO_PIN_8|LL_GPIO_PIN_9|LL_GPIO_PIN_10|LL_GPIO_PIN_11
                          |LL_GPIO_PIN_12|LL_GPIO_PIN_13|LL_GPIO_PIN_14|LL_GPIO_PIN_15
                          |LL_GPIO_PIN_0|LL_GPIO_PIN_1|LL_GPIO_PIN_2|LL_GPIO_PIN_3
                          |LL_GPIO_PIN_4|LL_GPIO_PIN_5|LL_GPIO_PIN_6|LL_GPIO_PIN_7;
  GPIO_InitStruct.Mode = LL_GPIO_MODE_OUTPUT;
  GPIO_InitStruct.Speed = LL_GPIO_SPEED_FREQ_LOW;
  GPIO_InitStruct.OutputType = LL_GPIO_OUTPUT_PUSHPULL;
  GPIO_InitStruct.Pull = LL_GPIO_PULL_NO;
  LL_GPIO_Init(GPIOD, &GPIO_InitStruct);

}

void Error_Handler(void)
{
}

/************************ (C) COPYRIGHT STMicroelectronics *****END OF FILE****/
